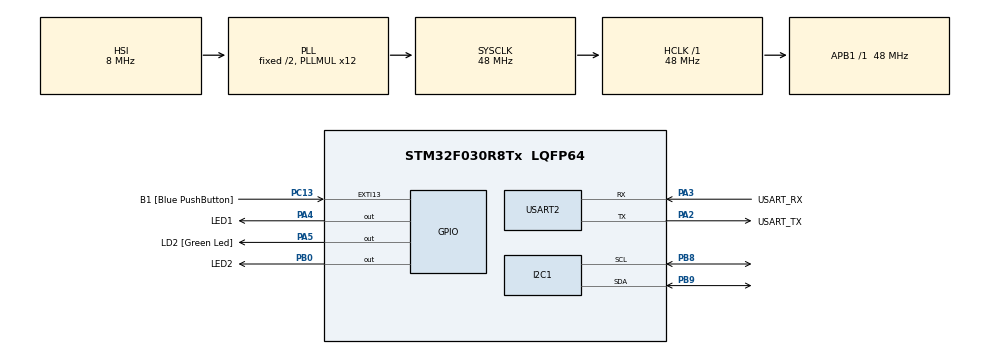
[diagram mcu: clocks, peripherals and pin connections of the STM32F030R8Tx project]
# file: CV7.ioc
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Dma.Request0=USART2_RX
Dma.USART2_RX.0.Direction=DMA_PERIPH_TO_MEMORY
Dma.USART2_RX.0.Instance=DMA1_Channel5
Dma.USART2_RX.0.MemDataAlignment=DMA_MDATAALIGN_BYTE
Dma.USART2_RX.0.MemInc=DMA_MINC_ENABLE
Dma.USART2_RX.0.Mode=DMA_CIRCULAR
Dma.USART2_RX.0.PeriphDataAlignment=DMA_PDATAALIGN_BYTE
Dma.USART2_RX.0.PeriphInc=DMA_PINC_DISABLE
Dma.USART2_RX.0.Priority=DMA_PRIORITY_LOW
FREERTOS.Queues01=xVisualQueue,16,uint16_t,0,Dynamic,NULL,NULL
FREERTOS.Tasks01=defaultTask,0,128,StartDefaultTask,Default,NULL,Dynamic,NULL,NULL;VisualTask,-3,128,StartVisualTask,Default,NULL,Dynamic,NULL,NULL;AcceleroTask,-3,128,StartAcceleroTask,Default,NULL,Dynamic,NULL,NULL
FREERTOS.configUSE_NEWLIB_REENTRANT=1
Mcu.Family=STM32F0
Mcu.Name=STM32F030R8Tx
Mcu.Package=LQFP64
NVIC.DMA1_Channel4_5_IRQn=true\:3\:0\:false\:false\:true\:true\:false\:true\:true
NVIC.TIM14_IRQn=true\:3\:0\:false\:false\:true\:false\:false\:true\:true
NVIC.TimeBase=TIM14_IRQn
NVIC.TimeBaseIP=TIM14
PA13.GPIO_Label=TMS
PA13.Mode=Serial_Wire
PA13.Signal=SYS_SWDIO
PA14.GPIO_Label=TCK
PA14.Mode=Serial_Wire
PA14.Signal=SYS_SWCLK
PA2.GPIO_Label=USART_TX
PA2.GPIO_Mode=GPIO_MODE_AF_PP
PA2.GPIO_PuPd=GPIO_NOPULL
PA2.GPIO_Speed=GPIO_SPEED_FREQ_LOW
PA2.Mode=Asynchronous
PA2.Signal=USART2_TX
PA3.GPIO_Label=USART_RX
PA3.GPIO_Mode=GPIO_MODE_AF_PP
PA3.GPIO_PuPd=GPIO_NOPULL
PA3.GPIO_Speed=GPIO_SPEED_FREQ_LOW
PA3.Mode=Asynchronous
PA3.Signal=USART2_RX
PA4.GPIO_Label=LED1
PA4.Signal=GPIO_Output
PA5.GPIO_Label=LD2 [Green Led]
PA5.GPIO_Mode=GPIO_MODE_OUTPUT_PP
PA5.GPIO_PuPd=GPIO_NOPULL
PA5.GPIO_Speed=GPIO_SPEED_FREQ_LOW
PA5.Signal=GPIO_Output
PB0.GPIO_Label=LED2
PB0.Signal=GPIO_Output
PB8.Mode=I2C
PB8.Signal=I2C1_SCL
PB9.Mode=I2C
PB9.Signal=I2C1_SDA
PC13.GPIO_Label=B1 [Blue PushButton]
PC13.GPIO_ModeDefaultEXTI=GPIO_MODE_IT_FALLING
PC13.Signal=GPXTI13
PC14-OSC32_IN.Mode=LSE-External-Oscillator
PC14-OSC32_IN.Signal=RCC_OSC32_IN
PC15-OSC32_OUT.Mode=LSE-External-Oscillator
PC15-OSC32_OUT.Signal=RCC_OSC32_OUT
PF0-OSC_IN.Mode=HSE-External-Clock-Source
PF0-OSC_IN.Signal=RCC_OSC_IN
PF1-OSC_OUT.Signal=RCC_OSC_OUT
ProjectManager.HeapSize=0x200
ProjectManager.StackSize=0x400
ProjectManager.TargetToolchain=STM32CubeIDE
RCC.AHBFreq_Value=48000000
RCC.APB1Freq_Value=48000000
RCC.APB1TimFreq_Value=48000000
RCC.HCLKFreq_Value=48000000
RCC.PLLMUL=RCC_PLL_MUL12
RCC.SYSCLKFreq_VALUE=48000000
RCC.SYSCLKSource=RCC_SYSCLKSOURCE_PLLCLK
USART2.VirtualMode-Asynchronous=VM_ASYNC
VP_FREERTOS_VS_CMSIS_V1.Mode=CMSIS_V1
VP_SYS_VS_tim14.Mode=TIM14
board=NUCLEO-F030R8

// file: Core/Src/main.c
/* USER CODE BEGIN Header */
/**
  ******************************************************************************
  * @file           : main.c
  * @brief          : Main program body
  ******************************************************************************
  * @attention
  *
  * Copyright (c) 2023 STMicroelectronics.
  * All rights reserved.
  *
  * This software is licensed under terms that can be found in the LICENSE file
  * in the root directory of this software component.
  * If no LICENSE file comes with this software, it is provided AS-IS.
  *
  ******************************************************************************
  */
/* USER CODE END Header */
#include "main.h"
#include "cmsis_os.h"

/* USER CODE BEGIN Includes */
#include <stdio.h>
#include <string.h>
#include <stdlib.h>
#include "lis2dw12_reg.h"
/* USER CODE END Includes */

I2C_HandleTypeDef hi2c1;

UART_HandleTypeDef huart2;
DMA_HandleTypeDef hdma_usart2_rx;

osThreadId defaultTaskHandle;
osThreadId VisualTaskHandle;
osThreadId AcceleroTaskHandle;
osMessageQId xVisualQueueHandle;

void SystemClock_Config(void);
static void MX_GPIO_Init(void);
static void MX_DMA_Init(void);
static void MX_USART2_UART_Init(void);
static void MX_I2C1_Init(void);
void StartDefaultTask(void const * argument);
void StartVisualTask(void const * argument);
void StartAcceleroTask(void const * argument);

/* USER CODE BEGIN 0 */
static int32_t platform_write(void *handle, uint8_t reg, const uint8_t *bufp, uint16_t len);
static int32_t platform_read(void *handle, uint8_t reg, uint8_t *bufp, uint16_t len);
static stmdev_ctx_t lis2dw12 = {
 .write_reg = platform_write,
 .read_reg = platform_read,
 .handle = &hi2c1,
};
static int32_t platform_write(void *handle, uint8_t reg, const uint8_t *bufp, uint16_t len)
{
 HAL_I2C_Mem_Write(handle, LIS2DW12_I2C_ADD_H, reg, I2C_MEMADD_SIZE_8BIT, (uint8_t *)bufp, len, 1000);
 return 0;
}
static int32_t platform_read(void *handle, uint8_t reg, uint8_t *bufp, uint16_t len)
{
 HAL_I2C_Mem_Read(handle, LIS2DW12_I2C_ADD_H, reg, I2C_MEMADD_SIZE_8BIT, bufp, len, 1000);
 return 0;
}
int _write(int file, char const *buf, int n)
{
 /* stdout redirection to UART2 */
 HAL_UART_Transmit(&huart2, (uint8_t*)(buf), n, HAL_MAX_DELAY);
 return n;
}
/* USER CODE END 0 */

int main(void)
{

  /* MCU Configuration--------------------------------------------------------*/

  /* Reset of all peripherals, Initializes the Flash interface and the Systick. */
  HAL_Init();

  /* Configure the system clock */
  SystemClock_Config();

  /* Initialize all configured peripherals */
  MX_GPIO_Init();
  MX_DMA_Init();
  MX_USART2_UART_Init();
  MX_I2C1_Init();
  /* USER CODE BEGIN 2 */
  lis2dw12_full_scale_set(&lis2dw12, LIS2DW12_2g);
  lis2dw12_power_mode_set(&lis2dw12, LIS2DW12_CONT_LOW_PWR_LOW_NOISE_2);
  lis2dw12_block_data_update_set(&lis2dw12, PROPERTY_ENABLE);
  lis2dw12_fifo_mode_set(&lis2dw12, LIS2DW12_STREAM_MODE); // enable continuous FIFO
  lis2dw12_data_rate_set(&lis2dw12, LIS2DW12_XL_ODR_25Hz); // enable part from power-down
  /* USER CODE END 2 */

  /* Create the queue(s) */
  /* definition and creation of xVisualQueue */
  osMessageQDef(xVisualQueue, 16, uint16_t);
  xVisualQueueHandle = osMessageCreate(osMessageQ(xVisualQueue), NULL);

  /* Create the thread(s) */
  /* definition and creation of defaultTask */
  osThreadDef(defaultTask, StartDefaultTask, osPriorityNormal, 0, 128);
  defaultTaskHandle = osThreadCreate(osThread(defaultTask), NULL);

  /* definition and creation of VisualTask */
  osThreadDef(VisualTask, StartVisualTask, osPriorityIdle, 0, 128);
  VisualTaskHandle = osThreadCreate(osThread(VisualTask), NULL);

  /* definition and creation of AcceleroTask */
  osThreadDef(AcceleroTask, StartAcceleroTask, osPriorityIdle, 0, 128);
  AcceleroTaskHandle = osThreadCreate(osThread(AcceleroTask), NULL);

  /* Start scheduler */
  osKernelStart();

  /* We should never get here as control is now taken by the scheduler */
  /* Infinite loop */
	while (1) {

	}
}

void SystemClock_Config(void)
{
  RCC_OscInitTypeDef RCC_OscInitStruct = {0};
  RCC_ClkInitTypeDef RCC_ClkInitStruct = {0};
  RCC_PeriphCLKInitTypeDef PeriphClkInit = {0};

  /** Initializes the RCC Oscillators according to the specified parameters
  * in the RCC_OscInitTypeDef structure.
  */
  RCC_OscInitStruct.OscillatorType = RCC_OSCILLATORTYPE_HSI;
  RCC_OscInitStruct.HSIState = RCC_HSI_ON;
  RCC_OscInitStruct.HSICalibrationValue = RCC_HSICALIBRATION_DEFAULT;
  RCC_OscInitStruct.PLL.PLLState = RCC_PLL_ON;
  RCC_OscInitStruct.PLL.PLLSource = RCC_PLLSOURCE_HSI;
  RCC_OscInitStruct.PLL.PLLMUL = RCC_PLL_MUL12;
  RCC_OscInitStruct.PLL.PREDIV = RCC_PREDIV_DIV1;
  if (HAL_RCC_OscConfig(&RCC_OscInitStruct) != HAL_OK)
  {
    Error_Handler();
  }

  /** Initializes the CPU, AHB and APB buses clocks
  */
  RCC_ClkInitStruct.ClockType = RCC_CLOCKTYPE_HCLK|RCC_CLOCKTYPE_SYSCLK
                              |RCC_CLOCKTYPE_PCLK1;
  RCC_ClkInitStruct.SYSCLKSource = RCC_SYSCLKSOURCE_PLLCLK;
  RCC_ClkInitStruct.AHBCLKDivider = RCC_SYSCLK_DIV1;
  RCC_ClkInitStruct.APB1CLKDivider = RCC_HCLK_DIV1;

  if (HAL_RCC_ClockConfig(&RCC_ClkInitStruct, FLASH_LATENCY_1) != HAL_OK)
  {
    Error_Handler();
  }
  PeriphClkInit.PeriphClockSelection = RCC_PERIPHCLK_I2C1;
  PeriphClkInit.I2c1ClockSelection = RCC_I2C1CLKSOURCE_HSI;
  if (HAL_RCCEx_PeriphCLKConfig(&PeriphClkInit) != HAL_OK)
  {
    Error_Handler();
  }
}

static void MX_I2C1_Init(void)
{

  hi2c1.Instance = I2C1;
  hi2c1.Init.Timing = 0x2000090E;
  hi2c1.Init.OwnAddress1 = 0;
  hi2c1.Init.AddressingMode = I2C_ADDRESSINGMODE_7BIT;
  hi2c1.Init.DualAddressMode = I2C_DUALADDRESS_DISABLE;
  hi2c1.Init.OwnAddress2 = 0;
  hi2c1.Init.OwnAddress2Masks = I2C_OA2_NOMASK;
  hi2c1.Init.GeneralCallMode = I2C_GENERALCALL_DISABLE;
  hi2c1.Init.NoStretchMode = I2C_NOSTRETCH_DISABLE;
  if (HAL_I2C_Init(&hi2c1) != HAL_OK)
  {
    Error_Handler();
  }

  /** Configure Analogue filter
  */
  if (HAL_I2CEx_ConfigAnalogFilter(&hi2c1, I2C_ANALOGFILTER_ENABLE) != HAL_OK)
  {
    Error_Handler();
  }

  /** Configure Digital filter
  */
  if (HAL_I2CEx_ConfigDigitalFilter(&hi2c1, 0) != HAL_OK)
  {
    Error_Handler();
  }

}

static void MX_USART2_UART_Init(void)
{

  huart2.Instance = USART2;
  huart2.Init.BaudRate = 38400;
  huart2.Init.WordLength = UART_WORDLENGTH_8B;
  huart2.Init.StopBits = UART_STOPBITS_1;
  huart2.Init.Parity = UART_PARITY_NONE;
  huart2.Init.Mode = UART_MODE_TX_RX;
  huart2.Init.HwFlowCtl = UART_HWCONTROL_NONE;
  huart2.Init.OverSampling = UART_OVERSAMPLING_16;
  huart2.Init.OneBitSampling = UART_ONE_BIT_SAMPLE_DISABLE;
  huart2.AdvancedInit.AdvFeatureInit = UART_ADVFEATURE_NO_INIT;
  if (HAL_UART_Init(&huart2) != HAL_OK)
  {
    Error_Handler();
  }

}

static void MX_DMA_Init(void)
{

  /* DMA controller clock enable */
  __HAL_RCC_DMA1_CLK_ENABLE();

  /* DMA interrupt init */
  /* DMA1_Channel4_5_IRQn interrupt configuration */
  HAL_NVIC_SetPriority(DMA1_Channel4_5_IRQn, 3, 0);
  HAL_NVIC_EnableIRQ(DMA1_Channel4_5_IRQn);

}

static void MX_GPIO_Init(void)
{
  GPIO_InitTypeDef GPIO_InitStruct = {0};

  /* GPIO Ports Clock Enable */
  __HAL_RCC_GPIOC_CLK_ENABLE();
  __HAL_RCC_GPIOF_CLK_ENABLE();
  __HAL_RCC_GPIOA_CLK_ENABLE();
  __HAL_RCC_GPIOB_CLK_ENABLE();

  /*Configure GPIO pin Output Level */
  HAL_GPIO_WritePin(GPIOA, LED1_Pin|LD2_Pin, GPIO_PIN_RESET);

  /*Configure GPIO pin Output Level */
  HAL_GPIO_WritePin(LED2_GPIO_Port, LED2_Pin, GPIO_PIN_RESET);

  /*Configure GPIO pin : B1_Pin */
  GPIO_InitStruct.Pin = B1_Pin;
  GPIO_InitStruct.Mode = GPIO_MODE_IT_FALLING;
  GPIO_InitStruct.Pull = GPIO_NOPULL;
  HAL_GPIO_Init(B1_GPIO_Port, &GPIO_InitStruct);

  /*Configure GPIO pins : LED1_Pin LD2_Pin */
  GPIO_InitStruct.Pin = LED1_Pin|LD2_Pin;
  GPIO_InitStruct.Mode = GPIO_MODE_OUTPUT_PP;
  GPIO_InitStruct.Pull = GPIO_NOPULL;
  GPIO_InitStruct.Speed = GPIO_SPEED_FREQ_LOW;
  HAL_GPIO_Init(GPIOA, &GPIO_InitStruct);

  /*Configure GPIO pin : LED2_Pin */
  GPIO_InitStruct.Pin = LED2_Pin;
  GPIO_InitStruct.Mode = GPIO_MODE_OUTPUT_PP;
  GPIO_InitStruct.Pull = GPIO_NOPULL;
  GPIO_InitStruct.Speed = GPIO_SPEED_FREQ_LOW;
  HAL_GPIO_Init(LED2_GPIO_Port, &GPIO_InitStruct);

}

void StartDefaultTask(void const * argument)
{
	for (;;) {
		osDelay(1);
	}
}

void StartVisualTask(void const * argument)
{
  /* USER CODE BEGIN StartVisualTask */
  /* Infinite loop */
  for(;;)
  {
	  int16_t msg;
	  if (xQueueReceive(xVisualQueueHandle, &msg, portMAX_DELAY)) {
		  HAL_GPIO_WritePin(LED1_GPIO_Port, LED1_Pin, 1);
		   if (msg < -1000) {
			   HAL_GPIO_WritePin(LED1_GPIO_Port, LED1_Pin, 1);
			   HAL_GPIO_WritePin(LED2_GPIO_Port, LED2_Pin, 0);
		   }
		   else if (msg > 1000) {
			   HAL_GPIO_WritePin(LED1_GPIO_Port, LED1_Pin, 0);
			   HAL_GPIO_WritePin(LED2_GPIO_Port, LED2_Pin, 1);
		   }
		   else {
			   HAL_GPIO_WritePin(LED1_GPIO_Port, LED1_Pin, 0);
			   HAL_GPIO_WritePin(LED2_GPIO_Port, LED2_Pin, 0);
		   }
	  }
	  osDelay(1);
  }
  /* USER CODE END StartVisualTask */
}

void StartAcceleroTask(void const * argument)
{
  /* USER CODE BEGIN StartAcceleroTask */
	uint8_t whoamI = 0;
	uint8_t samples;
	int16_t raw_acceleration[3];
	int16_t msg;
	int8_t q = 0;

	lis2dw12_device_id_get(&lis2dw12, &whoamI);
	osDelay(1000);
	if(whoamI == LIS2DW12_ID){
		printf("LIS2DW12_ID OK\n");
	}
	else{
		printf("LIS2DW12_ID FAIL\n");
	}
	/* Infinite loop */

	for (;;) {
		lis2dw12_fifo_data_level_get(&lis2dw12, &samples);
		for (uint8_t i = 0; i < samples; i++) {
				// Read acceleration data
			lis2dw12_acceleration_raw_get(&lis2dw12, raw_acceleration);
		}
		q++;
		if (q > 20){
			printf("X=%d Y=%d Z=%d\n", raw_acceleration[0], raw_acceleration[1], raw_acceleration[2]);
			q=0;
		}
		msg = raw_acceleration[0];
		xQueueSend(xVisualQueueHandle, &msg, 0);
		osDelay(50);
	}
	/*
	uint8_t samples;
	int16_t raw_acceleration[3];
	lis2dw12_fifo_data_level_get(&lis2dw12, &samples);
	for (uint8_t i = 0; i < samples; i++) {
	 // Read acceleration data
	 lis2dw12_acceleration_raw_get(&lis2dw12, raw_acceleration);
	 printf("X=%d Y=%d Z=%d\n", raw_acceleration[0], raw_acceleration[1], raw_acceleration[2]);
	}
	*/
  /* USER CODE END StartAcceleroTask */
}

void HAL_TIM_PeriodElapsedCallback(TIM_HandleTypeDef *htim)
{
  if (htim->Instance == TIM14) {
    HAL_IncTick();
  }
}

void Error_Handler(void)
{
  __disable_irq();
  while (1)
  {
  }
}
